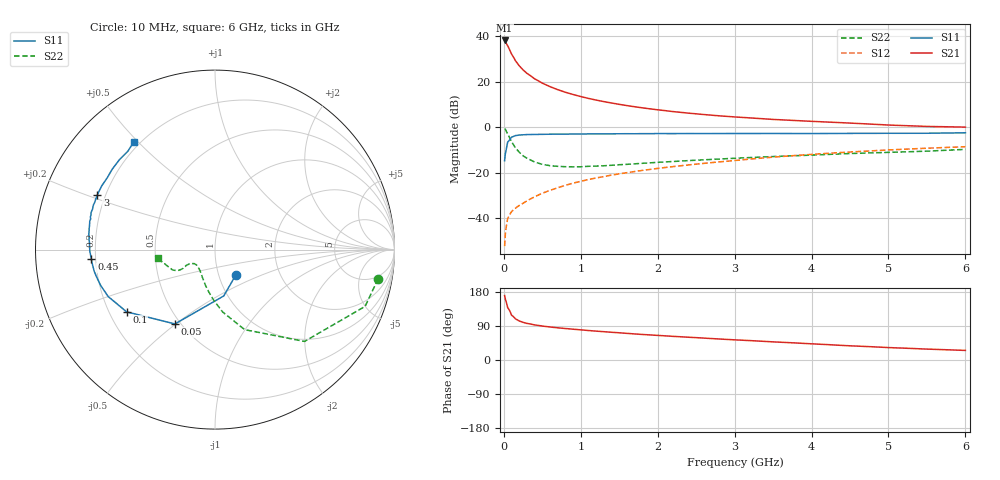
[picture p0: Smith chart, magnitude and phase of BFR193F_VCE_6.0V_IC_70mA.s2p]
! Infineon Technologies  Discrete & RF Semiconductors
! BFR193F
! VCE =  6.0 V,  IC =  70 mA
! Common Emitter S-Parameters:  Jan 2017
# GHz  S  MA  R  50
!  f  S11  S21  S12  S22
! GHz  MAG  ANG  MAG  ANG  MAG  ANG  MAG  ANG
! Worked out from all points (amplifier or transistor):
!   77 points, 10 MHz to 6 GHz, reference 50 ohm
!   highest |S21| = 38.1 dB at 10 MHz (marker M1)
!   |S21| within 3 dB of that: start of sweep to 59.65 MHz
!   unconditionally stable (mu >= 1): 693.5 MHz to 2.492 GHz
!   at 130 MHz: K = 0.55, MSG = 33.4 dB, |S12| = -36.2 dB
!   at 2.2 GHz: K = 1.01, MAG = 11.4 dB, |S12| = -17.4 dB
!   at 6 GHz: K = 0.86, MSG = 4.3 dB, |S12| = -8.6 dB
!   S11 on the Smith chart (normalised r, x): 10 MHz: 1.21, -0.35; 50 MHz: 0.47, -0.50; 100 MHz: 0.27, -0.30; 450 MHz: 0.18, -0.04; 3 GHz: 0.17, +0.22; 6 GHz: 0.18, +0.48
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0.01  0.1823 -50.2  80.56 170.0  0.0024 85.4  0.9233 -10.2
0.02  0.2628 -79.3  76.9 160.3  0.0045 79.2  0.8941 -20.7
0.05  0.4705 -118.3  61.5 138.1  0.0097 61.5  0.7147 -45.7
0.1  0.6021 -144.8  40.49 118.2  0.0138 53.1  0.4762 -69.6
0.15  0.6498 -156.2  29.05 108.8  0.0164 54.0  0.3502 -83.0
0.2  0.6674 -162.5  22.37 103.0  0.0189 57.0  0.2812 -91.6
0.25  0.677 -166.9  18.11 99.3  0.0211 60.5  0.2336 -99.3
0.3  0.6839 -169.9  15.24 96.6  0.0238 62.4  0.2066 -104.8
0.4  0.6895 -174.1  11.53 92.5  0.0292 65.6  0.1705 -114.2
0.45  0.6909 -175.5  10.4 91.2  0.0321 66.9  0.1607 -117.6
0.5  0.6928 -176.9  9.278 89.6  0.0351 68.0  0.1515 -121.4
0.6  0.6975 -179.2  7.767 87.1  0.0406 71.3  0.1416 -127.4
0.7  0.699 178.5  6.669 84.9  0.0462 71.9  0.1371 -131.8
0.9  0.7038 175.5  5.212 81.3  0.0584 73.8  0.1336 -139.1
1.1  0.7086 172.9  4.277 77.8  0.0705 74.5  0.1372 -143.2
1.5  0.7132 168.3  3.166 71.8  0.0936 75.3  0.1487 -148.6
2.1  0.7195 162.5  2.298 63.7  0.1293 74.6  0.1715 -151.0
3  0.723 155.0  1.674 53.2  0.1837 72.8  0.206 -149.7
3.1  0.7229 154.1  1.633 52.2  0.1906 72.4  0.2098 -149.7
4.1  0.7223 145.4  1.316 41.7  0.2573 68.1  0.2458 -151.7
5.1  0.731 135.7  1.094 32.0  0.3198 62.3  0.2812 -161.2
6  0.7501 127.2  0.999 25.3  0.3702 56.9  0.3236 -171.2
